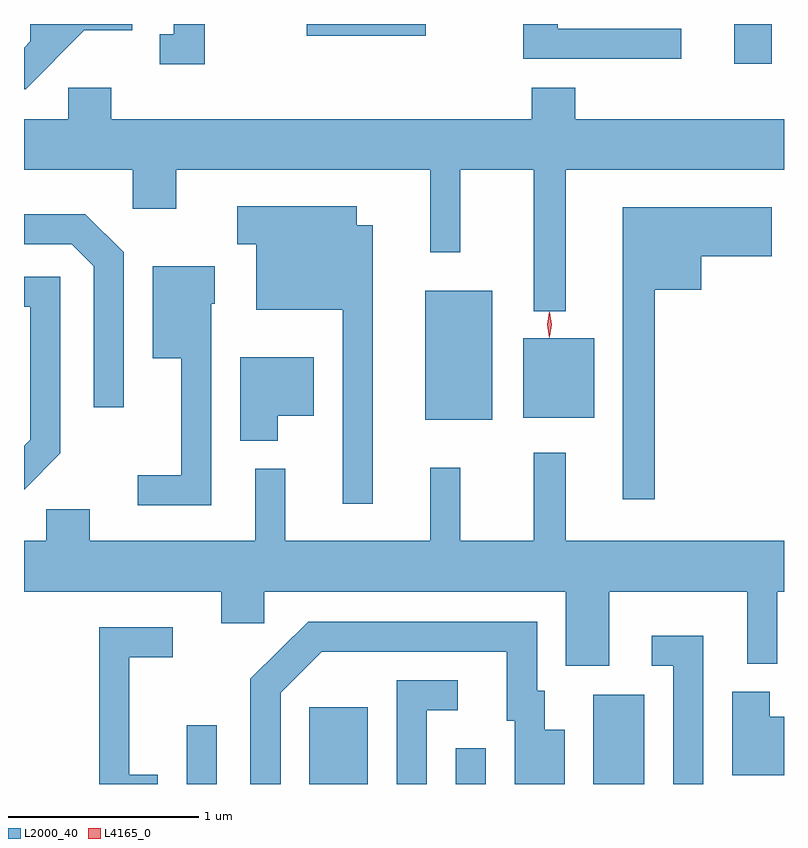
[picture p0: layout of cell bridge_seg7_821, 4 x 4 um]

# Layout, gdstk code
import gdstk
lib = gdstk.Library(unit=1e-6, precision=1e-09)
def R(c, l, rs):  # rectangles x0, y0, x1, y1
    for r in rs: c.add(gdstk.rectangle(r[:2], r[2:], *l))
def P(c, l, *ps):  # polygons
    for p in ps: c.add(gdstk.Polygon(p, *l))
L2000_40 = (2000, 40)
L4165_0 = (4165, 0)

bridge_seg7_821 = lib.new_cell('bridge_seg7_821')
R(bridge_seg7_821, L2000_40, [(251.636,1782.124,251.794,1782.433), (252.281,1782.124,252.589,1782.529), (253.051,1782.124,253.209,1782.313), (253.776,1782.124,254.044,1782.594), (252.891,1784.041,253.244,1784.719), (253.406,1784.051,253.779,1784.469), (254.516,1785.916,254.714,1786.124), (252.266,1786.061,252.894,1786.124)])
P(bridge_seg7_821, L2000_40, [(254.238,1786.099),(253.589,1786.099),(253.589,1786.124),(253.406,1786.124),(253.406,1785.941),(254.238,1785.941)],
  [(251.097,1786.091),(251.349,1786.091),(251.349,1786.124),(250.811,1786.124),(250.811,1786.032),(250.779,1786),(250.779,1785.781),(250.787,1785.781)],
  [(251.729,1786.124),(251.566,1786.124),(251.566,1786.069),(251.493,1786.069),(251.493,1785.911),(251.729,1785.911)],
  [(253.629,1785.356),(254.779,1785.356),(254.779,1785.624),(253.679,1785.624),(253.679,1785.789),(253.451,1785.789),(253.451,1785.624),(251.239,1785.624),(251.239,1785.789),(251.011,1785.789),(251.011,1785.624),(250.779,1785.624),(250.779,1785.356),(251.351,1785.356),(251.351,1785.151),(251.579,1785.151),(251.579,1785.356),(252.916,1785.356),(252.916,1784.923),(253.074,1784.923),(253.074,1785.356),(253.461,1785.356),(253.461,1784.613),(253.629,1784.613)],
  [(252.614,1785.064),(252.529,1785.064),(252.529,1785.164),(251.901,1785.164),(251.901,1784.966),(252.001,1784.966),(252.001,1784.621),(252.456,1784.621),(252.456,1783.598),(252.614,1783.598)],
  [(254.099,1784.726),(254.344,1784.726),(254.344,1784.901),(254.714,1784.901),(254.714,1785.159),(253.931,1785.159),(253.931,1783.623),(254.099,1783.623)],
  [(251.304,1784.922),(251.102,1785.124),(250.779,1785.124),(250.779,1784.966),(251.029,1784.966),(251.146,1784.849),(251.146,1784.108),(251.304,1784.108)],
  [(251.764,1784.651),(251.784,1784.651),(251.784,1784.849),(251.456,1784.849),(251.456,1784.366),(251.606,1784.366),(251.606,1783.749),(251.378,1783.749),(251.378,1783.591),(251.764,1783.591)],
  [(250.969,1783.864),(250.969,1784.794),(250.779,1784.794),(250.779,1784.636),(250.811,1784.636),(250.811,1783.937),(250.779,1783.905),(250.779,1783.673)],
  [(252.114,1784.061),(252.304,1784.061),(252.304,1784.369),(251.916,1784.369),(251.916,1783.931),(252.114,1783.931)],
  [(253.859,1783.136),(254.586,1783.136),(254.586,1782.758),(254.744,1782.758),(254.744,1783.136),(254.779,1783.136),(254.779,1783.404),(253.629,1783.404),(253.629,1783.868),(253.461,1783.868),(253.461,1783.404),(253.074,1783.404),(253.074,1783.788),(252.916,1783.788),(252.916,1783.404),(252.154,1783.404),(252.154,1783.783),(251.996,1783.783),(251.996,1783.404),(251.124,1783.404),(251.124,1783.569),(250.896,1783.569),(250.896,1783.404),(250.779,1783.404),(250.779,1783.136),(251.816,1783.136),(251.816,1782.971),(252.044,1782.971),(252.044,1783.136),(253.631,1783.136),(253.631,1782.746),(253.859,1782.746)],
  [(252.129,1782.604),(252.347,1782.821),(253.321,1782.821),(253.321,1782.456),(253.361,1782.456),(253.361,1782.124),(253.624,1782.124),(253.624,1782.409),(253.519,1782.409),(253.519,1782.614),(253.479,1782.614),(253.479,1782.979),(252.274,1782.979),(251.971,1782.677),(251.971,1782.124),(252.129,1782.124)],
  [(251.484,1782.174),(251.334,1782.174),(251.334,1782.791),(251.563,1782.791),(251.563,1782.949),(251.176,1782.949),(251.176,1782.124),(251.484,1782.124)],
  [(254.354,1782.904),(254.083,1782.904),(254.083,1782.746),(254.196,1782.746),(254.196,1782.124),(254.354,1782.124)],
  [(252.899,1782.511),(253.063,1782.511),(253.063,1782.669),(252.741,1782.669),(252.741,1782.124),(252.899,1782.124)],
  [(254.779,1782.479),(254.704,1782.479),(254.704,1782.609),(254.506,1782.609),(254.506,1782.171),(254.779,1782.171)])
P(bridge_seg7_821, L4165_0, [(253.543,1784.473),(253.543,1784.474),(253.533,1784.542),(253.543,1784.61),(253.543,1784.61),(253.544,1784.61),(253.553,1784.542),(253.544,1784.474)],
  [(253.546,1784.478),(253.546,1784.479),(253.536,1784.543),(253.546,1784.607),(253.546,1784.607),(253.547,1784.607),(253.556,1784.543),(253.547,1784.479)])

lib.write_gds('bridge_seg7_821.gds')
